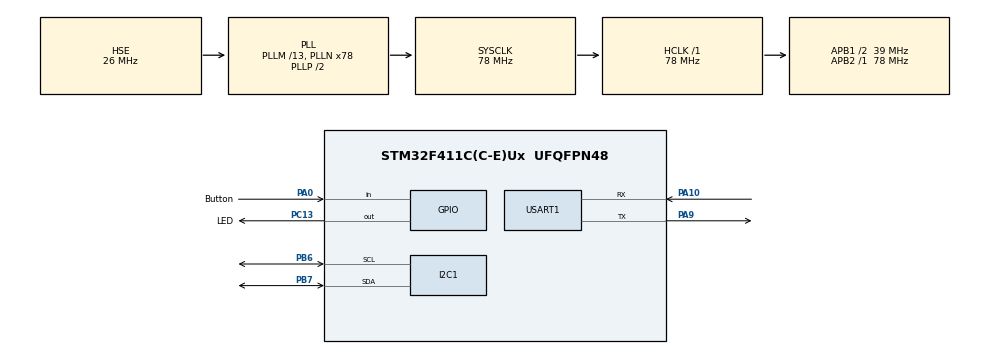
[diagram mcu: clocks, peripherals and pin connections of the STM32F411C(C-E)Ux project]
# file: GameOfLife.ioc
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I2C1.I2C_Mode=I2C_Fast
Mcu.Family=STM32F4
Mcu.Name=STM32F411C(C-E)Ux
Mcu.Package=UFQFPN48
NVIC.PriorityGroup=NVIC_PRIORITYGROUP_4
PA0-WKUP.GPIO_Label=Button
PA0-WKUP.GPIO_PuPd=GPIO_PULLUP
PA0-WKUP.Signal=GPIO_Input
PA10.Mode=Asynchronous
PA10.Signal=USART1_RX
PA13.Mode=Serial_Wire
PA13.Signal=SYS_JTMS-SWDIO
PA14.Mode=Serial_Wire
PA14.Signal=SYS_JTCK-SWCLK
PA9.Mode=Asynchronous
PA9.Signal=USART1_TX
PB6.Mode=I2C
PB6.Signal=I2C1_SCL
PB7.Mode=I2C
PB7.Signal=I2C1_SDA
PC13-ANTI_TAMP.GPIO_Label=LED
PC13-ANTI_TAMP.GPIO_PuPd=GPIO_PULLDOWN
PC13-ANTI_TAMP.PinState=GPIO_PIN_RESET
PC13-ANTI_TAMP.Signal=GPIO_Output
PH0\ -\ OSC_IN.Mode=HSE-External-Oscillator
PH0\ -\ OSC_IN.Signal=RCC_OSC_IN
PH1\ -\ OSC_OUT.Mode=HSE-External-Oscillator
PH1\ -\ OSC_OUT.Signal=RCC_OSC_OUT
ProjectManager.HeapSize=0x200
ProjectManager.StackSize=0x400
ProjectManager.TargetToolchain=CMake
RCC.48MHZClocksFreq_Value=39000000
RCC.AHBFreq_Value=78000000
RCC.APB1CLKDivider=RCC_HCLK_DIV2
RCC.APB1Freq_Value=39000000
RCC.APB1TimFreq_Value=78000000
RCC.APB2Freq_Value=78000000
RCC.APB2TimFreq_Value=78000000
RCC.CortexFreq_Value=78000000
RCC.HCLKFreq_Value=78000000
RCC.HSE_VALUE=26000000
RCC.HSI_VALUE=16000000
RCC.LSE_VALUE=32768
RCC.PLLM=13
RCC.PLLN=78
RCC.PLLSourceVirtual=RCC_PLLSOURCE_HSE
RCC.SYSCLKFreq_VALUE=78000000
RCC.SYSCLKSource=RCC_SYSCLKSOURCE_PLLCLK
RCC.VCOOutputFreq_Value=156000000
USART1.VirtualMode=VM_ASYNC
board=custom

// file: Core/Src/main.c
/* USER CODE BEGIN Header */
/**
 ******************************************************************************
 * @file           : main.c
 * @brief          : Main program body
 ******************************************************************************
 * @attention
 *
 * Copyright (c) 2026 STMicroelectronics.
 * All rights reserved.
 *
 * This software is licensed under terms that can be found in the LICENSE file
 * in the root directory of this software component.
 * If no LICENSE file comes with this software, it is provided AS-IS.
 *
 ******************************************************************************
 */
/* USER CODE END Header */
#include "main.h"
#include "i2c.h"
#include "usart.h"
#include "gpio.h"

/* USER CODE BEGIN Includes */
#include "ssd1306_commands.h"
#include "ssd1306_driver.h"

#include "oled.h"

#include "gameoflife.h"

#include <stdbool.h>
/* USER CODE END Includes */

/* USER CODE BEGIN PV */
volatile bool q = false;
/* USER CODE END PV */

void SystemClock_Config(void);

int main(void)
{

  /* MCU Configuration--------------------------------------------------------*/

  /* Reset of all peripherals, Initializes the Flash interface and the Systick. */
  HAL_Init();

  /* Configure the system clock */
  SystemClock_Config();

  /* Initialize all configured peripherals */
  MX_GPIO_Init();
  MX_I2C1_Init();
  MX_USART1_UART_Init();
  /* USER CODE BEGIN 2 */
  HAL_Delay(500); // If you don't have this delay OLED will not get power in time and init will fail

  DISPLAY_Init();

  /* USER CODE END 2 */

  /* Infinite loop */
  /* USER CODE BEGIN WHILE */
  while (1)
  {
    if (HAL_GPIO_ReadPin(Button_GPIO_Port, Button_Pin) == GPIO_PIN_RESET)
    {
      if (GOL_GetState() == MAIN_SCREEN)
        GOL_WriteState(GAME_INIT);
      if (GOL_GetState() == GAME_LOOP)
        GOL_WriteState(MAIN_SCREEN);

      HAL_Delay(200);
    }

    GOL_Main();
    /* USER CODE END WHILE */

  }
}

void SystemClock_Config(void)
{
  RCC_OscInitTypeDef RCC_OscInitStruct = {0};
  RCC_ClkInitTypeDef RCC_ClkInitStruct = {0};

  /** Configure the main internal regulator output voltage
  */
  __HAL_RCC_PWR_CLK_ENABLE();
  __HAL_PWR_VOLTAGESCALING_CONFIG(PWR_REGULATOR_VOLTAGE_SCALE1);

  /** Initializes the RCC Oscillators according to the specified parameters
  * in the RCC_OscInitTypeDef structure.
  */
  RCC_OscInitStruct.OscillatorType = RCC_OSCILLATORTYPE_HSE;
  RCC_OscInitStruct.HSEState = RCC_HSE_ON;
  RCC_OscInitStruct.PLL.PLLState = RCC_PLL_ON;
  RCC_OscInitStruct.PLL.PLLSource = RCC_PLLSOURCE_HSE;
  RCC_OscInitStruct.PLL.PLLM = 13;
  RCC_OscInitStruct.PLL.PLLN = 78;
  RCC_OscInitStruct.PLL.PLLP = RCC_PLLP_DIV2;
  RCC_OscInitStruct.PLL.PLLQ = 4;
  if (HAL_RCC_OscConfig(&RCC_OscInitStruct) != HAL_OK)
  {
    Error_Handler();
  }

  /** Initializes the CPU, AHB and APB buses clocks
  */
  RCC_ClkInitStruct.ClockType = RCC_CLOCKTYPE_HCLK|RCC_CLOCKTYPE_SYSCLK
                              |RCC_CLOCKTYPE_PCLK1|RCC_CLOCKTYPE_PCLK2;
  RCC_ClkInitStruct.SYSCLKSource = RCC_SYSCLKSOURCE_PLLCLK;
  RCC_ClkInitStruct.AHBCLKDivider = RCC_SYSCLK_DIV1;
  RCC_ClkInitStruct.APB1CLKDivider = RCC_HCLK_DIV2;
  RCC_ClkInitStruct.APB2CLKDivider = RCC_HCLK_DIV1;

  if (HAL_RCC_ClockConfig(&RCC_ClkInitStruct, FLASH_LATENCY_2) != HAL_OK)
  {
    Error_Handler();
  }
}

/* USER CODE BEGIN 4 */
void HAL_IncTick(void)
{
  uwTick += uwTickFreq;
}
/* USER CODE END 4 */

void Error_Handler(void)
{
  __disable_irq();
  while (1)
  {
  }
}
